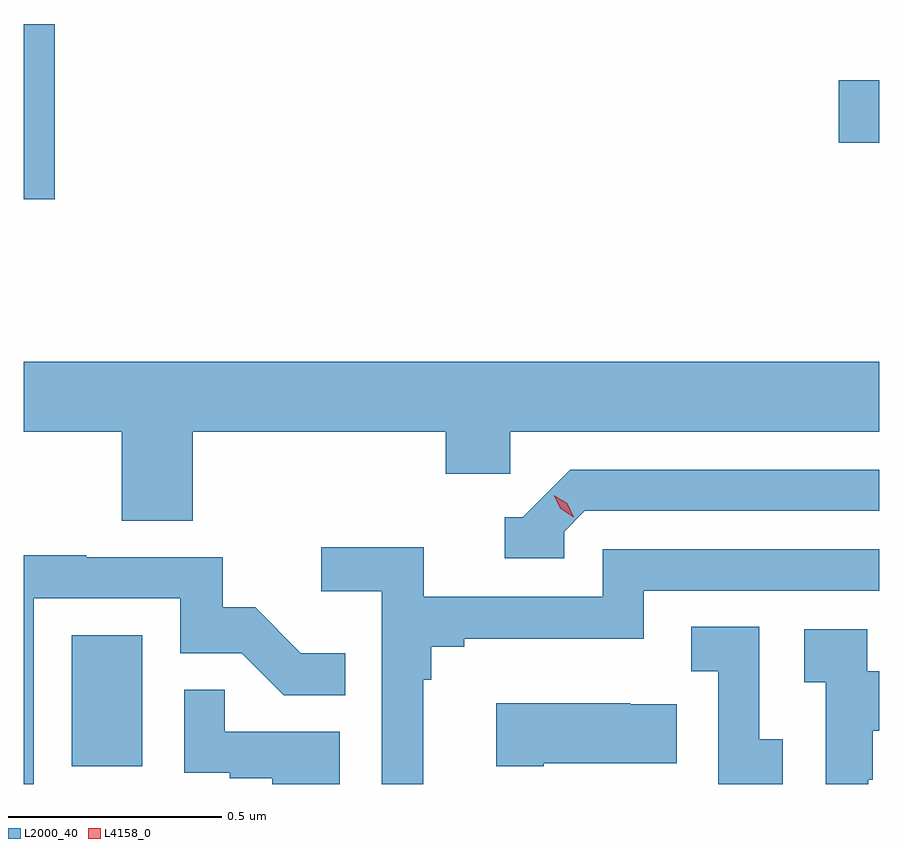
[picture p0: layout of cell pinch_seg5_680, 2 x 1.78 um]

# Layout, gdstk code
import gdstk
lib = gdstk.Library(unit=1e-6, precision=1e-09)
def R(c, l, rs):  # rectangles x0, y0, x1, y1
    for r in rs: c.add(gdstk.rectangle(r[:2], r[2:], *l))
def P(c, l, *ps):  # polygons
    for p in ps: c.add(gdstk.Polygon(p, *l))
L2000_40 = (2000, 40)
L4158_0 = (4158, 0)

pinch_seg5_680 = lib.new_cell('pinch_seg5_680')
R(pinch_seg5_680, L2000_40, [(1029.566,835.998,1029.73,836.305), (1029.453,837.323,1029.526,837.733), (1031.358,837.455,1031.453,837.602)])
P(pinch_seg5_680, L2000_40, [(1029.848,836.78),(1030.439,836.78),(1030.439,836.682),(1030.59,836.682),(1030.59,836.78),(1031.453,836.78),(1031.453,836.944),(1029.453,836.944),(1029.453,836.78),(1029.683,836.78),(1029.683,836.572),(1029.848,836.572)],
  [(1030.716,836.547),(1030.764,836.595),(1031.453,836.595),(1031.453,836.691),(1030.731,836.691),(1030.62,836.58),(1030.577,836.58),(1030.577,836.484),(1030.716,836.484)],
  [(1030.387,836.201),(1030.406,836.201),(1030.406,836.278),(1030.483,836.278),(1030.483,836.297),(1030.902,836.297),(1030.902,836.409),(1031.453,836.409),(1031.453,836.505),(1030.806,836.505),(1030.806,836.394),(1030.388,836.394),(1030.388,836.51),(1030.149,836.51),(1030.149,836.408),(1030.29,836.408),(1030.29,835.957),(1030.387,835.957)],
  [(1029.477,836.391),(1029.819,836.391),(1029.819,836.262),(1029.963,836.262),(1030.061,836.164),(1030.205,836.164),(1030.205,836.263),(1030.101,836.263),(1029.994,836.37),(1029.918,836.37),(1029.918,836.487),(1029.599,836.487),(1029.599,836.492),(1029.453,836.492),(1029.453,835.957),(1029.477,835.957)],
  [(1031.227,836.061),(1031.172,836.061),(1031.172,836.324),(1031.013,836.324),(1031.013,836.221),(1031.076,836.221),(1031.076,835.957),(1031.227,835.957)],
  [(1031.427,835.967),(1031.437,835.967),(1031.437,836.081),(1031.453,836.081),(1031.453,836.221),(1031.424,836.221),(1031.424,836.319),(1031.277,836.319),(1031.277,836.195),(1031.328,836.195),(1031.328,835.957),(1031.427,835.957)],
  [(1030.192,836.079),(1029.923,836.079),(1029.923,836.177),(1029.828,836.177),(1029.828,835.983),(1029.935,835.983),(1029.935,835.971),(1030.034,835.971),(1030.034,835.957),(1030.192,835.957)],
  [(1030.669,836.006),(1030.979,836.006),(1030.979,836.143),(1030.871,836.143),(1030.871,836.146),(1030.557,836.146),(1030.557,835.999),(1030.669,835.999)])
P(pinch_seg5_680, L4158_0, [(1030.739,836.58),(1030.708,836.6),(1030.692,836.632),(1030.692,836.632),(1030.692,836.632),(1030.723,836.613),(1030.739,836.58),(1030.739,836.58)])

lib.write_gds('pinch_seg5_680.gds')
